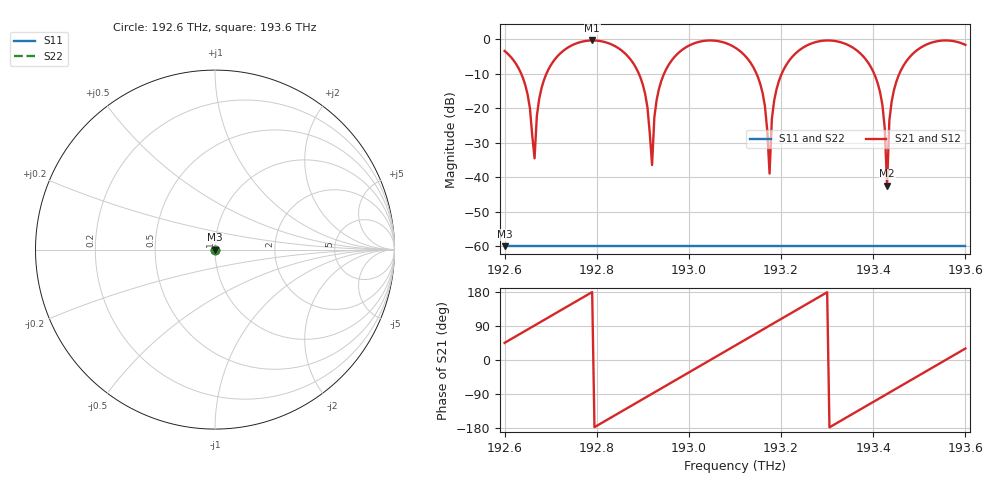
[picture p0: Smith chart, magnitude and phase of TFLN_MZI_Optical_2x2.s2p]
! Touchstone S2P File
! LightRail AI LR-P3A Rev 6.3 — QPA
! MZI 2x2 optical transfer, 500um arms, theta=0.42pi, freq axis = optical THz
! Generated by generate_sparams.py
# GHz S RI R 1.0
! freq  Re(S11)  Im(S11)  Re(S21)  Im(S21)  Re(S12)  Im(S12)  Re(S22)  Im(S22)
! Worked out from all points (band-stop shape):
!   201 points, 192.6 THz to 193.6 THz, reference 1 ohm
!   highest |S21| = -0.40 dB at 192.79 THz (marker M1); lowest = -42.5 dB at 193.43 THz (marker M2)
!   |S21| within 3 dB of the highest: 192.9827 THz to 193.1101 THz (127.4 GHz wide, 0.066 % of centre); 193.238 THz to 193.3654 THz (127.4 GHz wide, 0.0659 % of centre)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
!   lowest |S11| = -60.0 dB at 192.6 THz (marker M3), VSWR 1.00, Z = 1 + j0 ohm
!   |S11| at or under -10 dB: start of sweep to end of sweep
!   |S22| runs from -60.0 to -60.0 dB; largest |S21 - S12| = 0
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192600  0.001 0  0.4725 0.4775  0.4725 0.4775  0.001 0
192645  0.001 0  0.0481 0.2089  0.0481 0.2089  0.001 0
192665  0.001 0  -0.000368 0.0187  -0.000368 0.0187  0.001 0
192690  0.001 0  -0.0987 0.2907  -0.0987 0.2907  0.001 0
192770  0.001 0  -0.8923 0.2366  -0.8923 0.2366  0.001 0
192790  0.001 0  -0.9548 0.0125  -0.9548 0.0125  0.001 0
192890  0.001 0  -0.1144 -0.3101  -0.1144 -0.3101  0.001 0
192920  0.001 0  0.000236 -0.015  0.000236 -0.015  0.001 0
192935  0.001 0  0.0378 -0.1862  0.0378 -0.1862  0.001 0
193035  0.001 0  0.9364 -0.132  0.9364 -0.132  0.001 0
193100  0.001 0  0.5962 0.4625  0.5962 0.4625  0.001 0
193155  0.001 0  0.0515 0.2157  0.0515 0.2157  0.001 0
193175  0.001 0  -0.000133 0.0112  -0.000133 0.0112  0.001 0
193180  0.001 0  -0.00512 0.0698  -0.00512 0.0698  0.001 0
193195  0.001 0  -0.0621 0.2355  -0.0621 0.2355  0.001 0
193270  0.001 0  -0.8169 0.3359  -0.8169 0.3359  0.001 0
193395  0.001 0  -0.1608 -0.3573  -0.1608 -0.3573  0.001 0
193420  0.001 0  -0.0126 -0.109  -0.0126 -0.109  0.001 0
193430  0.001 0  5.9e-05 -0.0075  5.9e-05 -0.0075  0.001 0
193435  0.001 0  0.00459 -0.066  0.00459 -0.066  0.001 0
193485  0.001 0  0.3819 -0.4678  0.3819 -0.4678  0.001 0
193600  0.001 0  0.7119 0.416  0.7119 0.416  0.001 0
